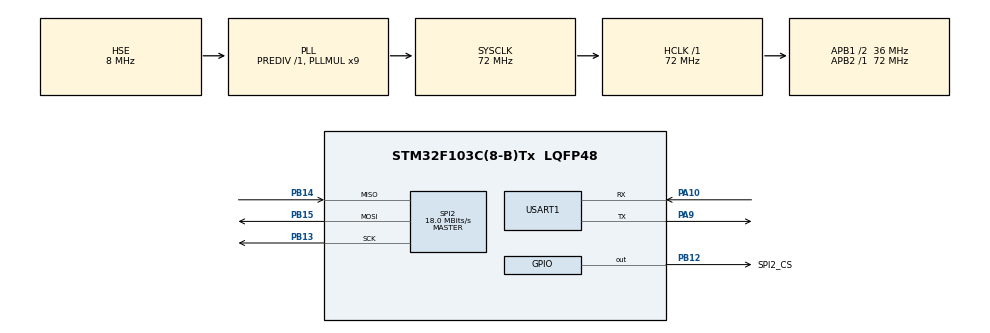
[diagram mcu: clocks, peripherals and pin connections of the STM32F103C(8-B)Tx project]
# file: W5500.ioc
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Mcu.Family=STM32F1
Mcu.Name=STM32F103C(8-B)Tx
Mcu.Package=LQFP48
NVIC.PriorityGroup=NVIC_PRIORITYGROUP_4
PA10.Mode=Asynchronous
PA10.Signal=USART1_RX
PA13.Mode=Serial_Wire
PA13.Signal=SYS_JTMS-SWDIO
PA14.Mode=Serial_Wire
PA14.Signal=SYS_JTCK-SWCLK
PA9.Mode=Asynchronous
PA9.Signal=USART1_TX
PB12.GPIO_Label=SPI2_CS
PB12.Signal=GPIO_Output
PB13.Mode=Full_Duplex_Master
PB13.Signal=SPI2_SCK
PB14.Mode=Full_Duplex_Master
PB14.Signal=SPI2_MISO
PB15.Mode=Full_Duplex_Master
PB15.Signal=SPI2_MOSI
PD0-OSC_IN.Mode=HSE-External-Oscillator
PD0-OSC_IN.Signal=RCC_OSC_IN
PD1-OSC_OUT.Mode=HSE-External-Oscillator
PD1-OSC_OUT.Signal=RCC_OSC_OUT
ProjectManager.HeapSize=0x200
ProjectManager.StackSize=0x400
ProjectManager.TargetToolchain=MDK-ARM V5
RCC.AHBFreq_Value=72000000
RCC.APB1CLKDivider=RCC_HCLK_DIV2
RCC.APB1Freq_Value=36000000
RCC.APB1TimFreq_Value=72000000
RCC.APB2Freq_Value=72000000
RCC.APB2TimFreq_Value=72000000
RCC.HCLKFreq_Value=72000000
RCC.PLLMUL=RCC_PLL_MUL9
RCC.PLLSourceVirtual=RCC_PLLSOURCE_HSE
RCC.SYSCLKFreq_VALUE=72000000
RCC.SYSCLKSource=RCC_SYSCLKSOURCE_PLLCLK
RCC.USBFreq_Value=72000000
SPI2.CalculateBaudRate=18.0 MBits/s
SPI2.Direction=SPI_DIRECTION_2LINES
SPI2.Mode=SPI_MODE_MASTER
SPI2.VirtualType=VM_MASTER
USART1.VirtualMode=VM_ASYNC
board=custom

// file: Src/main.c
/* USER CODE BEGIN Header */
/**
  ******************************************************************************
  * @file           : main.c
  * @brief          : Main program body
  ******************************************************************************
  ** This notice applies to any and all portions of this file
  * that are not between comment pairs USER CODE BEGIN and
  * USER CODE END. Other portions of this file, whether
  * inserted by the user or by software development tools
  * are owned by their respective copyright owners.
  *
  * COPYRIGHT(c) 2019 STMicroelectronics
  *
  * Redistribution and use in source and binary forms, with or without modification,
  * are permitted provided that the following conditions are met:
  *   1. Redistributions of source code must retain the above copyright notice,
  *      this list of conditions and the following disclaimer.
  *   2. Redistributions in binary form must reproduce the above copyright notice,
  *      this list of conditions and the following disclaimer in the documentation
  *      and/or other materials provided with the distribution.
  *   3. Neither the name of STMicroelectronics nor the names of its contributors
  *      may be used to endorse or promote products derived from this software
  *      without specific prior written permission.
  *
  * THIS SOFTWARE IS PROVIDED BY THE COPYRIGHT HOLDERS AND CONTRIBUTORS "AS IS"
  * AND ANY EXPRESS OR IMPLIED WARRANTIES, INCLUDING, BUT NOT LIMITED TO, THE
  * IMPLIED WARRANTIES OF MERCHANTABILITY AND FITNESS FOR A PARTICULAR PURPOSE ARE
  * DISCLAIMED. IN NO EVENT SHALL THE COPYRIGHT HOLDER OR CONTRIBUTORS BE LIABLE
  * FOR ANY DIRECT, INDIRECT, INCIDENTAL, SPECIAL, EXEMPLARY, OR CONSEQUENTIAL
  * DAMAGES (INCLUDING, BUT NOT LIMITED TO, PROCUREMENT OF SUBSTITUTE GOODS OR
  * SERVICES; LOSS OF USE, DATA, OR PROFITS; OR BUSINESS INTERRUPTION) HOWEVER
  * CAUSED AND ON ANY THEORY OF LIABILITY, WHETHER IN CONTRACT, STRICT LIABILITY,
  * OR TORT (INCLUDING NEGLIGENCE OR OTHERWISE) ARISING IN ANY WAY OUT OF THE USE
  * OF THIS SOFTWARE, EVEN IF ADVISED OF THE POSSIBILITY OF SUCH DAMAGE.
  *
  ******************************************************************************
  */
/* USER CODE END Header */

#include "main.h"
#include "spi.h"
#include "usart.h"
#include "gpio.h"

/* USER CODE BEGIN Includes */
#include "w5500.h"
#include "socket.h"
#include "wizchip_conf.h"
#include "loopback.h"
/* USER CODE END Includes */

/* USER CODE BEGIN PD */
#define SOCK_TCPS        0
#define SOCK_UDPS        1
/* USER CODE END PD */

/* USER CODE BEGIN PV */
wiz_NetInfo gWIZNETINFO = { .mac = {0x00, 0x01, 0x02, 0x03, 0x04, 0x05},
                            .ip = {192, 168, 1, 10},
                            .sn = {255, 255, 255, 0},
                            .gw = {192, 168, 1, 1},
                            .dns = {192, 168, 1, 1},
                            .dhcp = NETINFO_STATIC };

uint8_t gDATABUF[2048];
/* USER CODE END PV */

void SystemClock_Config(void);
/* USER CODE BEGIN PFP */
void W5500_Select(void);
void W5500_Unselect(void);
void W5500_ReadBuff(uint8_t* buff, uint16_t len);
void W5500_WriteBuff(uint8_t* buff, uint16_t len);
uint8_t W5500_ReadByte(void);
void W5500_WriteByte(uint8_t byte);
void network_init(void);
/* USER CODE END PFP */

int main(void)
{
  /* USER CODE BEGIN 1 */
	uint8_t tmp;
  int32_t ret = 0;
  uint8_t memsize[2][8] = {{2,2,2,2,2,2,2,2},{2,2,2,2,2,2,2,2}};
  /* USER CODE END 1 */

  /* MCU Configuration--------------------------------------------------------*/

  /* Reset of all peripherals, Initializes the Flash interface and the Systick. */
  HAL_Init();

  /* Configure the system clock */
  SystemClock_Config();

  /* Initialize all configured peripherals */
  MX_GPIO_Init();
  MX_SPI2_Init();
  MX_USART1_UART_Init();
  /* USER CODE BEGIN 2 */

	reg_wizchip_cs_cbfunc(W5500_Select, W5500_Unselect);
  reg_wizchip_spi_cbfunc(W5500_ReadByte, W5500_WriteByte);
  reg_wizchip_spiburst_cbfunc(W5500_ReadBuff, W5500_WriteBuff);

  /* WIZCHIP SOCKET Buffer initialize */
  if(ctlwizchip(CW_INIT_WIZCHIP,(void*)memsize) == -1)
  {
     printf("WIZCHIP Initialized fail.\r\n");
     while(1);
  }

  /* PHY link status check */
  do
  {
     if(ctlwizchip(CW_GET_PHYLINK, (void*)&tmp) == -1)
        printf("Unknown PHY Link stauts.\r\n");
  }while(tmp == PHY_LINK_OFF);

  network_init();

  /* USER CODE END 2 */

  /* Infinite loop */
  while (1)
  {

    /* USER CODE BEGIN 3 */
		if( (ret = loopback_tcps(SOCK_TCPS, gDATABUF, 5000)) < 0) {
      printf("SOCKET ERROR : %ld\r\n", ret);
    }

		if( (ret = loopback_udps(SOCK_UDPS, gDATABUF, 3000)) < 0) {
			printf("SOCKET ERROR : %ld\r\n", ret);
		}
  }
  /* USER CODE END 3 */
}

void SystemClock_Config(void)
{
  RCC_OscInitTypeDef RCC_OscInitStruct = {0};
  RCC_ClkInitTypeDef RCC_ClkInitStruct = {0};

  /**Initializes the CPU, AHB and APB busses clocks
  */
  RCC_OscInitStruct.OscillatorType = RCC_OSCILLATORTYPE_HSE;
  RCC_OscInitStruct.HSEState = RCC_HSE_ON;
  RCC_OscInitStruct.HSEPredivValue = RCC_HSE_PREDIV_DIV1;
  RCC_OscInitStruct.HSIState = RCC_HSI_ON;
  RCC_OscInitStruct.PLL.PLLState = RCC_PLL_ON;
  RCC_OscInitStruct.PLL.PLLSource = RCC_PLLSOURCE_HSE;
  RCC_OscInitStruct.PLL.PLLMUL = RCC_PLL_MUL9;
  if (HAL_RCC_OscConfig(&RCC_OscInitStruct) != HAL_OK)
  {
    Error_Handler();
  }
  /**Initializes the CPU, AHB and APB busses clocks
  */
  RCC_ClkInitStruct.ClockType = RCC_CLOCKTYPE_HCLK|RCC_CLOCKTYPE_SYSCLK
                              |RCC_CLOCKTYPE_PCLK1|RCC_CLOCKTYPE_PCLK2;
  RCC_ClkInitStruct.SYSCLKSource = RCC_SYSCLKSOURCE_PLLCLK;
  RCC_ClkInitStruct.AHBCLKDivider = RCC_SYSCLK_DIV1;
  RCC_ClkInitStruct.APB1CLKDivider = RCC_HCLK_DIV2;
  RCC_ClkInitStruct.APB2CLKDivider = RCC_HCLK_DIV1;

  if (HAL_RCC_ClockConfig(&RCC_ClkInitStruct, FLASH_LATENCY_2) != HAL_OK)
  {
    Error_Handler();
  }
}

/* USER CODE BEGIN 4 */
void W5500_Select(void) {
  HAL_GPIO_WritePin(SPI2_CS_GPIO_Port, SPI2_CS_Pin, GPIO_PIN_RESET);
}

void W5500_Unselect(void) {
  HAL_GPIO_WritePin(SPI2_CS_GPIO_Port, SPI2_CS_Pin, GPIO_PIN_SET);
}

void W5500_ReadBuff(uint8_t* buff, uint16_t len) {
  HAL_SPI_Receive(&hspi2, buff, len, HAL_MAX_DELAY);
}

void W5500_WriteBuff(uint8_t* buff, uint16_t len) {
  HAL_SPI_Transmit(&hspi2, buff, len, HAL_MAX_DELAY);
}

uint8_t W5500_ReadByte(void) {
  uint8_t byte;
  W5500_ReadBuff(&byte, sizeof(byte));
  return byte;
}

void W5500_WriteByte(uint8_t byte) {
  W5500_WriteBuff(&byte, sizeof(byte));
}

void network_init(void)
{
  uint8_t tmpstr[6];
  ctlnetwork(CN_SET_NETINFO, (void*)&gWIZNETINFO);
  ctlnetwork(CN_GET_NETINFO, (void*)&gWIZNETINFO);

  // Display Network Information
  ctlwizchip(CW_GET_ID,(void*)tmpstr);
  printf("\r\n=== %s NET CONF ===\r\n",(char*)tmpstr);
  printf("MAC: %02X:%02X:%02X:%02X:%02X:%02X\r\n",gWIZNETINFO.mac[0],gWIZNETINFO.mac[1],gWIZNETINFO.mac[2],gWIZNETINFO.mac[3],gWIZNETINFO.mac[4],gWIZNETINFO.mac[5]);
  printf("SIP: %d.%d.%d.%d\r\n", gWIZNETINFO.ip[0],gWIZNETINFO.ip[1],gWIZNETINFO.ip[2],gWIZNETINFO.ip[3]);
  printf("GAR: %d.%d.%d.%d\r\n", gWIZNETINFO.gw[0],gWIZNETINFO.gw[1],gWIZNETINFO.gw[2],gWIZNETINFO.gw[3]);
  printf("SUB: %d.%d.%d.%d\r\n", gWIZNETINFO.sn[0],gWIZNETINFO.sn[1],gWIZNETINFO.sn[2],gWIZNETINFO.sn[3]);
  printf("DNS: %d.%d.%d.%d\r\n", gWIZNETINFO.dns[0],gWIZNETINFO.dns[1],gWIZNETINFO.dns[2],gWIZNETINFO.dns[3]);
  printf("======================\r\n");
}
/* USER CODE END 4 */

void Error_Handler(void)
{
}

/************************ (C) COPYRIGHT STMicroelectronics *****END OF FILE****/
